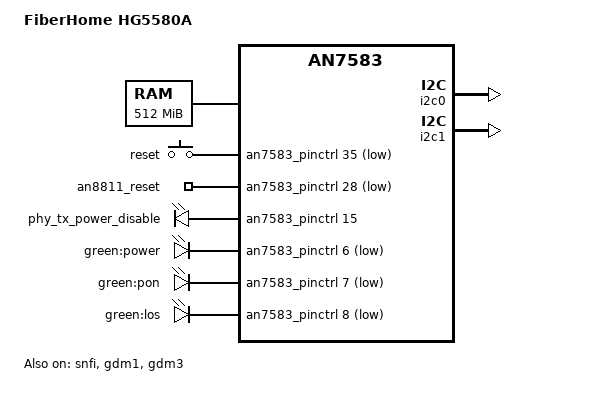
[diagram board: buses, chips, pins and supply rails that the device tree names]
// SPDX-License-Identifier: (GPL-2.0-only OR BSD-2-Clause)
/*
 * FiberHome HG5580A - Airoha AN7583 ONU
 *
 * Hardware confirmed on real hardware (U-Boot banner + /api/device):
 *   SoC        Airoha AN7583 (2x Cortex-A53)
 *   DRAM       512 MiB @ 0x80000000
 *   NAND       SkyHigh S35ML02G300 (ML02G300WH100), 256 MiB
 *              block 128 KiB, page 2048, OOB 128
 *   Serial     UART1 at 0x1fbf0000, 115200 8N1
 *   PHY        Motorcomm YT8821 2.5G on gdm3 (OUI 0x13D47A, MDIO 0x07)
 *   Switch     MediaTek MT7530 on gdm1
 *   Optical    Airoha UX3363 paged BOSA, I2C 0x51
 *
 * Partition layout
 * ----------------
 * One UBI container plus the vendor data blobs.  This deliberately abandons the
 * stock 14-partition table.
 *
 *   0x00000000  0x00020000  bl2       128 KiB, writable
 *   0x00020000  0x0e6e0000  ubi       242 MiB, the only managed region
 *   0x0e700000  0x00500000  factory   vendor identity blob, read-only
 *   0x0ec00000  0x00020000  bosacal   BOSA calibration, read-only
 *   0x0ec20000  0x00020000  identity  vendor identity mirror, read-only
 *
 * Two constraints fix the sizes, and neither is negotiable
 * -------------------------------------------------------
 *   plat/ecnt/en7523/bl2_boot_nand_ubi.c
 *       #define UBI_START_ADDR 0x20000
 *     BL2 reads its UBI container from a fixed offset, so "ubi" must begin
 *     immediately after a 128 KiB bl2.
 *
 *   net/lwip/httpd.c, run_bootloader_update(true)
 *       if (mtd->size != mtd->erasesize) goto out;
 *     The flash-bl2 handler refuses any partition that is not exactly one
 *     eraseblock, so bl2 cannot be 2.5 MiB.
 *
 * Why bl2 must NOT be marked read-only
 * ------------------------------------
 * mtdpart.c turns the flag into a cleared MTD_WRITEABLE bit:
 *
 *   if (ofnode_read_bool(child, "read-only"))
 *           part.mask_flags |= MTD_WRITEABLE;   // removed on allocation
 *
 * and every write path then bails out:
 *
 *   mtdcore.c: if (!(mtd->flags & MTD_WRITEABLE)) return -EPERM;
 *
 * so a read-only bl2 makes flash-bl2 fail at the erase phase.  factory, bosacal
 * and identity stay read-only on purpose: nothing should ever write them, and a
 * ubi-rebuild cannot reach them because they sit outside the UBI window.
 *
 * Why not keep carving UBI out of the stock "apps" window
 * ------------------------------------------------------
 * The previous layout put ubi at 0x5f00000 + 0x6800000, which fully covers the
 * stock "apps" (32 MiB), "overlay" (24 MiB) and "apps_data" (48 MiB).  Booting
 * the vendor firmware therefore wrote its overlay and app data into our UBI and
 * corrupted it:
 *
 *   ubi0 error: scan_peb: bad image sequence number -730722252 in PEB 1
 *   ubi0 error: ubi_attach_mtd_dev: failed to attach mtd7, error -22
 *
 * With one contiguous window that ends exactly at "factory", no stock partition
 * overlaps UBI, so neither the vendor firmware nor a ubi-rebuild can clobber it.
 *
 * UBI volumes: fip, fit, ubootenv, ubootenv2, bosa, ri.
 */
/dts-v1/;

#include <dt-bindings/leds/common.h>
#include <dt-bindings/gpio/gpio.h>
#include <dt-bindings/input/input.h>
#include "an7583.dtsi"

/ {
	model = "FiberHome HG5580A";
	compatible = "fiberhome,hg5580a-ubi", "airoha,an7583";

	chosen {
		bootargs = "console=ttyS0,115200 earlycon";
		stdout-path = "serial0:115200n8";
		/*
		 * The first 2 MiB at 0x80000000 are reserved for the secure
		 * firmware (atf@ node in an7583.dtsi); hand the rest to Linux.
		 */
		linux,usable-memory-range = <0x0 0x80200000 0x0 0x1fe00000>;
	};

	memory@80000000 {
		device_type = "memory";
		reg = <0x0 0x80000000 0x0 0x20000000>;
	};

	keys {
		compatible = "gpio-keys";

		button-reset {
			label = "reset";
			linux,code = <KEY_RESTART>;
			gpios = <&an7583_pinctrl 35 GPIO_ACTIVE_LOW>;
			debounce-interval = <60>;
		};
	};

	leds {
		compatible = "gpio-leds";

		/*
		 * Not indicators: these two hold the YT8821 2.5G PHY out of
		 * reset / powered.  Names come from the vendor device tree
		 * (it still says "an8811") and the inverted polarity is
		 * deliberate -- see the long comment in the Linux DTS.
		 */
		phy_reset {
			label = "an8811_reset";
			gpios = <&an7583_pinctrl 28 GPIO_ACTIVE_LOW>;
			default-state = "off";
		};

		phy_tx_power_disable {
			label = "phy_tx_power_disable";
			gpios = <&an7583_pinctrl 15 GPIO_ACTIVE_HIGH>;
			default-state = "on";
		};

		/* Front-panel LEDs.  green:power is the activity LED. */
		led_status {
			label = "green:power";
			gpios = <&an7583_pinctrl 6 GPIO_ACTIVE_LOW>;
			default-state = "off";
		};

		led_pon {
			label = "green:pon";
			gpios = <&an7583_pinctrl 7 GPIO_ACTIVE_LOW>;
			default-state = "off";
		};

		led_los {
			label = "green:los";
			gpios = <&an7583_pinctrl 8 GPIO_ACTIVE_LOW>;
			default-state = "off";
		};
	};
};

/*
 * SPI-NAND.  One UBI container that stops at the factory partition, so nothing
 * U-Boot or ubi-rebuild touches can overlap the read-only vendor data.
 */
&snfi {
	status = "okay";
};

&spi_nand {
	partitions {
		compatible = "fixed-partitions";
		#address-cells = <1>;
		#size-cells = <1>;

		/*
		 * Vendor BL2.  Exactly one 128 KiB eraseblock, because both the
		 * TF-A UBI loader and U-Boot's flash-bl2 handler require it:
		 *
		 *   plat/ecnt/en7523/bl2_boot_nand_ubi.c: UBI_START_ADDR 0x20000
		 *   httpd.c run_bootloader_update(true):
		 *       mtd->size != mtd->erasesize -> reject
		 *       preloader FIP goes at offset 0x800 inside the block
		 */
		partition@0 {
			/*
			 * No "read-only" here, deliberately.  mtdpart clears
			 * MTD_WRITEABLE when the property is present:
			 *
			 *   if (ofnode_read_bool(child, "read-only"))
			 *           part.mask_flags |= MTD_WRITEABLE;
			 *
			 * and mtdcore then refuses the erase:
			 *
			 *   if (!(mtd->flags & MTD_WRITEABLE)) return -EPERM;
			 *
			 * flash-bl2 erases this partition before writing it, so
			 * the flag would make the update fail at phase "erase".
			 */
			label = "bl2";
			reg = <0x0 0x20000>;
		};

		/*
		 * The only partition U-Boot formats and manages.
		 *
		 * Starts at 0x20000 to match BL2's UBI_START_ADDR, and ends exactly
		 * at the factory offset: 0x20000 + 0xe6e0000 = 0xe700000.
		 */
		partition@20000 {
			label = "ubi";
			reg = <0x20000 0xe6e0000>;
		};

		/* MAC / PON serial / optical calibration.  Never written. */
		partition@e700000 {
			label = "factory";
			reg = <0xe700000 0x500000>;
			read-only;
		};

		partition@ec00000 {
			label = "bosacal";
			reg = <0xec00000 0x20000>;
			read-only;
		};

		partition@ec20000 {
			label = "identity";
			reg = <0xec20000 0x20000>;
			read-only;
		};
	};
};

/* UX3363 paged BOSA and the factory EEPROM sit on i2c0. */
&i2c0 {
	status = "okay";
};

&i2c1 {
	status = "okay";
};

/*
 * gdm1 is the MT7530 switch CPU port (lan2..lan4); gdm3 is the YT8821 2.5G
 * port on lan1.  Both are needed by the U-Boot network stack, which the Web
 * recovery and TFTP paths use.
 */
&gdm1 {
	status = "okay";
};

&gdm3 {
	status = "okay";
};
